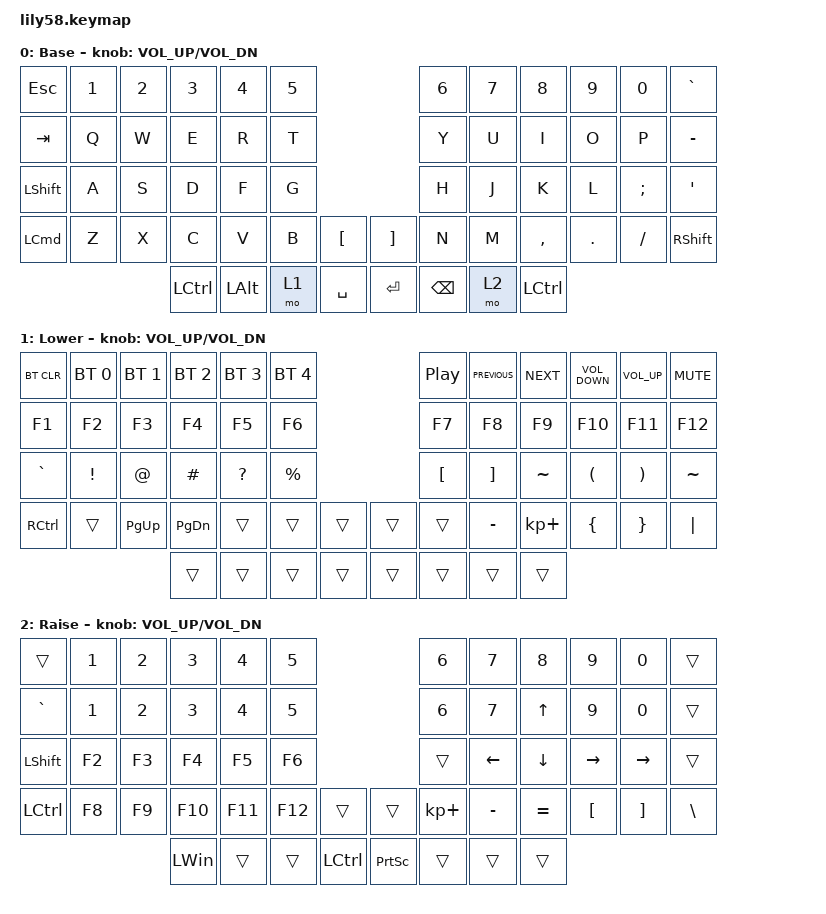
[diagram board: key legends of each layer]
/*
 * Copyright (c) 2020 The ZMK Contributors
 *
 * SPDX-License-Identifier: MIT
 */

#include <behaviors.dtsi>
#include <dt-bindings/zmk/bt.h>
#include <dt-bindings/zmk/keys.h>

/ {
    keymap {
        compatible = "zmk,keymap";

        default_layer {
            // ------------------------------------------------------------------------------------------------------------
            // |  ESC  |  1  |  2  |  3   |  4   |  5   |                   |  6   |  7    |  8    |  9   |   0   |   `   |
            // |  TAB  |  Q  |  W  |  E   |  R   |  T   |                   |  Y   |  U    |  I    |  O   |   P   |   -   |
            // |  CTRL |  A  |  S  |  D   |  F   |  G   |                   |  H   |  J    |  K    |  L   |   ;   |   '   |
            // | SHIFT |  Z  |  X  |  C   |  V   |  B   |   "["  |  |  "]"  |  N   |  M    |  ,    |  .   |   /   | SHIFT |
            //                     | ALT  | GUI  | LOWER|  SPACE |  | ENTER | RAISE| BSPC  | GUI   |

            label = "Base";
            bindings = <
&kp ESC           &kp N1  &kp N2  &kp N3            &kp N4        &kp N5                         &kp N6         &kp N7  &kp N8     &kp N9   &kp N0    &kp GRAVE
&kp TAB           &kp Q   &kp W   &kp E             &kp R         &kp T                          &kp Y          &kp U   &kp I      &kp O    &kp P     &kp MINUS
&kp LEFT_SHIFT    &kp A   &kp S   &kp D             &kp F         &kp G                          &kp H          &kp J   &kp K      &kp L    &kp SEMI  &kp APOS
&kp LEFT_COMMAND  &kp Z   &kp X   &kp C             &kp V         &kp B   &kp LBKT     &kp RBKT  &kp N          &kp M   &kp COMMA  &kp DOT  &kp FSLH  &kp RSHFT
                                  &kp LEFT_CONTROL  &kp LEFT_ALT  &mo 1   &kp SPACE    &kp RET   &kp BACKSPACE  &mo 2   &kp LCTRL
            >;

            sensor-bindings = <&inc_dec_kp C_VOL_UP C_VOL_DN>;
        };

        lower_layer {
            // ------------------------------------------------------------------------------------------------------------
            // | BTCLR | BT1 | BT2 |  BT3 |  BT4 |  BT5 |                   |      |       |       |      |       |       |
            // |  F1   |  F2 |  F3 |  F4  |  F5  |  F6  |                   |  F7  |  F8   |  F9   |  F10 |  F11  |  F12  |
            // |   `   |  !  |  @  |  #   |  $   |  %   |                   |  ^   |  &    |  *    |  (   |   )   |   ~   |
            // |       |     |     |      |      |      |        |  |       |      |  _    |  +    |  {   |   }   |  "|"  |
            //                     |      |      |      |        |  |       |      |       |       |

            label = "Lower";
            bindings = <
&bt BT_CLR         &bt BT_SEL 0  &bt BT_SEL 1  &bt BT_SEL 2   &bt BT_SEL 3  &bt BT_SEL 4                    &kp C_PLAY_PAUSE  &kp C_PREVIOUS     &kp C_NEXT   &kp K_VOLUME_DOWN  &kp K_VOLUME_UP  &kp K_MUTE
&kp F1             &kp F2        &kp F3        &kp F4         &kp F5        &kp F6                          &kp F7            &kp F8             &kp F9       &kp F10            &kp F11          &kp F12
&kp GRAVE          &kp EXCL      &kp AT        &kp HASH       &kp QUESTION  &kp PRCNT                       &kp LEFT_BRACKET  &kp RIGHT_BRACKET  &kp TILDE    &kp LPAR           &kp RPAR         &kp TILDE
&kp RIGHT_CONTROL  &trans        &kp PAGE_UP   &kp PAGE_DOWN  &trans        &trans        &trans    &trans  &trans            &kp MINUS          &kp KP_PLUS  &kp LBRC           &kp RBRC         &kp PIPE
                                               &trans         &trans        &trans        &trans    &trans  &trans            &trans             &trans
            >;

            sensor-bindings = <&inc_dec_kp C_VOL_UP C_VOL_DN>;
        };

        raise_layer {
            // ------------------------------------------------------------------------------------------------------------
            // |       |     |     |      |      |      |                   |      |       |       |      |       |       |
            // |   `   |  1  |  2  |  3   |  4   |  5   |                   |  6   |   7   |   8   |  9   |   0   |       |
            // |   F1  |  F2 |  F3 |  F4  |  F5  |  F6  |                   |      |   <-  |   v   |  ^   |  ->   |       |
            // |   F7  |  F8 |  F9 |  F10 |  F11 |  F12 |        |  |       |  +   |   -   |   =   |  [   |   ]   |   \   |
            //                     |      |      |      |        |  |       |      |       |       |

            label = "Raise";
            bindings = <
&trans            &kp NUMBER_1  &kp NUMBER_2  &kp NUMBER_3  &kp NUMBER_4  &kp NUMBER_5                                       &kp NUMBER_6  &kp NUMBER_7  &kp NUMBER_8  &kp NUMBER_9  &kp NUMBER_0  &trans
&kp GRAVE         &kp N1        &kp N2        &kp N3        &kp N4        &kp N5                                             &kp N6        &kp N7        &kp UP_ARROW  &kp N9        &kp N0        &trans
&kp LEFT_SHIFT    &kp F2        &kp F3        &kp F4        &kp F5        &kp F6                                             &trans        &kp LEFT      &kp DOWN      &kp RIGHT     &kp RIGHT     &trans
&kp LEFT_CONTROL  &kp F8        &kp F9        &kp F10       &kp F11       &kp F12       &trans              &trans           &kp KP_PLUS   &kp MINUS     &kp EQUAL     &kp LBKT      &kp RBKT      &kp BSLH
                                              &kp LEFT_WIN  &trans        &trans        &kp LEFT_CONTROL    &kp PRINTSCREEN  &trans        &trans        &trans
            >;

            sensor-bindings = <&inc_dec_kp C_VOL_UP C_VOL_DN>;
        };
    };
};
